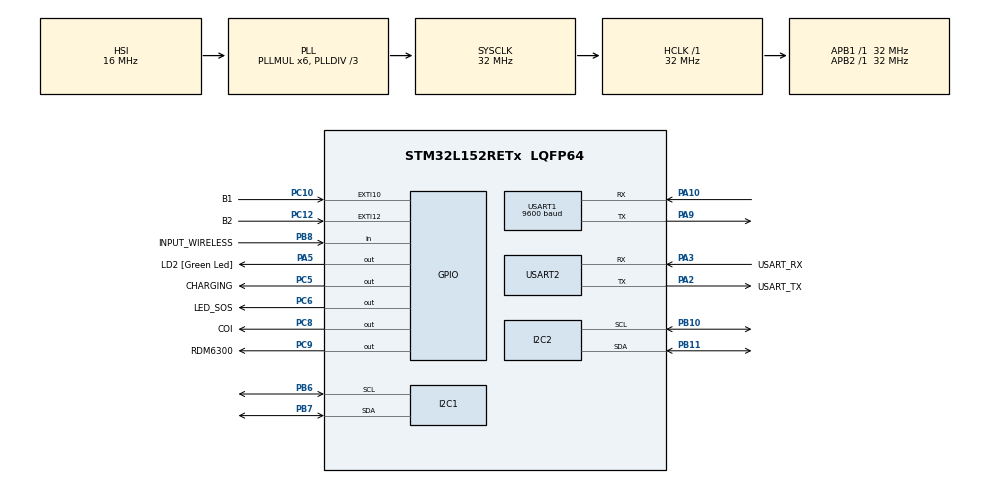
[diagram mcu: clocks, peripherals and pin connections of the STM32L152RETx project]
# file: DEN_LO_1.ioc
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I2C1.I2C_Mode=I2C_Fast
Mcu.Family=STM32L1
Mcu.Name=STM32L152RETx
Mcu.Package=LQFP64
NVIC.EXTI15_10_IRQn=true\:0\:0\:false\:false\:true\:true\:true\:true
NVIC.PriorityGroup=NVIC_PRIORITYGROUP_0
PA10.Mode=Asynchronous
PA10.Signal=USART1_RX
PA13.GPIO_Label=TMS
PA13.Mode=Serial_Wire
PA13.Signal=SYS_JTMS-SWDIO
PA14.GPIO_Label=TCK
PA14.Mode=Serial_Wire
PA14.Signal=SYS_JTCK-SWCLK
PA2.GPIO_Label=USART_TX
PA2.Mode=Asynchronous
PA2.Signal=USART2_TX
PA3.GPIO_Label=USART_RX
PA3.Mode=Asynchronous
PA3.Signal=USART2_RX
PA5.GPIO_Label=LD2 [Green Led]
PA5.Signal=GPIO_Output
PA9.Mode=Asynchronous
PA9.Signal=USART1_TX
PB10.Mode=I2C
PB10.Signal=I2C2_SCL
PB11.Mode=I2C
PB11.Signal=I2C2_SDA
PB3.GPIO_Label=SWO
PB3.Signal=SYS_JTDO-TRACESWO
PB6.Mode=I2C
PB6.Signal=I2C1_SCL
PB7.Mode=I2C
PB7.Signal=I2C1_SDA
PB8.GPIO_Label=INPUT_WIRELESS
PB8.GPIO_PuPd=GPIO_NOPULL
PB8.Signal=GPIO_Input
PC10.GPIO_Label=B1
PC10.Signal=GPXTI10
PC12.GPIO_Label=B2
PC12.Signal=GPXTI12
PC14-OSC32_IN.Mode=LSE-External-Oscillator
PC14-OSC32_IN.Signal=RCC_OSC32_IN
PC15-OSC32_OUT.Mode=LSE-External-Oscillator
PC15-OSC32_OUT.Signal=RCC_OSC32_OUT
PC5.GPIO_Label=CHARGING
PC5.Signal=GPIO_Output
PC6.GPIO_Label=LED_SOS
PC6.Signal=GPIO_Output
PC8.GPIO_Label=COI
PC8.Signal=GPIO_Output
PC9.GPIO_Label=RDM6300
PC9.Signal=GPIO_Output
PH0-OSC_IN.Mode=HSE-External-Clock-Source
PH0-OSC_IN.Signal=RCC_OSC_IN
PH1-OSC_OUT.Signal=RCC_OSC_OUT
ProjectManager.HeapSize=0x200
ProjectManager.StackSize=0x400
ProjectManager.TargetToolchain=STM32CubeIDE
RCC.48MHZClocksFreq_Value=48000000
RCC.AHBFreq_Value=32000000
RCC.APB1Freq_Value=32000000
RCC.APB1TimFreq_Value=32000000
RCC.APB2Freq_Value=32000000
RCC.APB2TimFreq_Value=32000000
RCC.HCLKFreq_Value=32000000
RCC.HSE_VALUE=8000000
RCC.HSI_VALUE=16000000
RCC.MSI_VALUE=2097000
RCC.PLLDIV=RCC_PLL_DIV3
RCC.PLLMUL=RCC_PLL_MUL6
RCC.RTCClockSelectionVirtual=RCC_RTCCLKSOURCE_LSE
RCC.SYSCLKFreq_VALUE=32000000
RCC.SYSCLKSource=RCC_SYSCLKSOURCE_PLLCLK
RCC.USBOutput=48000000
RCC.VCOOutputFreq_Value=96000000
USART1.BaudRate=9600
USART1.VirtualMode=VM_ASYNC
USART2.VirtualMode=VM_ASYNC
board=NUCLEO-L152RE

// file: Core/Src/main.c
/* USER CODE BEGIN Header */
/**
  ******************************************************************************
  * @file           : main.c
  * @brief          : Main program body
  ******************************************************************************
  * @attention
  *
  * Copyright (c) 2024 STMicroelectronics.
  * All rights reserved.
  *
  * This software is licensed under terms that can be found in the LICENSE file
  * in the root directory of this software component.
  * If no LICENSE file comes with this software, it is provided AS-IS.
  *
  ******************************************************************************
  */
/* USER CODE END Header */
#include "main.h"

/* USER CODE BEGIN Includes */
#include "sh1106.h" // Thư viện OLED SH1106
#include "INA219.h"
#include <stdio.h>  // �?ể sử dụng snprintf
#include <string.h> // �?ể sử dụng strlen
#include "bitmaps.h"
#include "processing_handle.h"

/* USER CODE END Includes */

I2C_HandleTypeDef hi2c1;
I2C_HandleTypeDef hi2c2;

UART_HandleTypeDef huart1;
UART_HandleTypeDef huart2;

/* USER CODE BEGIN PV */
INA219_t ina219;

//uint8_t mValid_Uid[14] = {0x02, 0x31, 0x31, 0x30, 0x30, 0x33, 0x41, 0x34, 0x31, 0x33, 0x45, 0x35, 0x34, 0x03};
uint8_t mValid_Uid[14] = {0x03, 0x02, 0x30, 0x43, 0x30, 0x30, 0x31, 0x45, 0x42, 0x30, 0x31, 0x32, 0x42, 0x30};
char 	mUser_Name[] = "PHAM DUC HIEN";
uint8_t mButton_Sos_Pressed = 0; // status button SOS
uint8_t mRfid_Uid_Correct = 0; // Status button On/Off power read RFID
uint8_t mRfidBuffer[14];               // Bộ đệm nhận dữ liệu từ module RFID
uint16_t mVotage_Value = 0;
uint16_t mCurrent_Value = 0;
uint8_t mBattery_percent = 0;
uint8_t mCharging_status = 0; // default 0 is not charging

uint32_t mPress_Tick = 0;
uint8_t mStatus_Rfid_power = 0;
uint8_t mStatus_Rfid_Chage_UID = 0;
uint32_t mPress_time = 0;
/* USER CODE END PV */

void SystemClock_Config(void);
static void MX_GPIO_Init(void);
static void MX_USART2_UART_Init(void);
static void MX_I2C2_Init(void);
static void MX_I2C1_Init(void);
static void MX_USART1_UART_Init(void);
/* USER CODE BEGIN PFP */

static void DISPLAY_PROCESS(void);
static void RFID_PROCESS(void);
static void SOS_PROCESS(void);
static void BATERRY_CHARGER_PROCESS(void);

static int CompareData(const uint8_t *received_data, const uint8_t *valid_data);

/* USER CODE END PFP */

int main(void)
{

  /* MCU Configuration--------------------------------------------------------*/

  /* Reset of all peripherals, Initializes the Flash interface and the Systick. */
  HAL_Init();

  /* Configure the system clock */
  SystemClock_Config();

  /* Initialize all configured peripherals */
  MX_GPIO_Init();
  MX_USART2_UART_Init();
  MX_I2C2_Init();
  MX_I2C1_Init();
  MX_USART1_UART_Init();
  /* USER CODE BEGIN 2 */
  if (!INA219_Init(&ina219, &hi2c2, INA219_ADDRESS)) {
	 while (1);
 }
  SH1106_Init();
  HAL_Delay(100);
  SH1106_Fill(SH1106_COLOR_BLACK);
  SH1106_DrawBitmap(45, 0, (char*)bmp_logo_40x64_ontrak.data,bmp_logo_40x64_ontrak.width, bmp_logo_40x64_ontrak.height, SH1106_COLOR_WHITE);
  SH1106_UpdateScreen();
  HAL_Delay(2000);

  /* USER CODE END 2 */

  /* Infinite loop */
  while (1)
  {

    /* USER CODE BEGIN 3 */
	  BATERRY_CHARGER_PROCESS();
	  DISPLAY_PROCESS();
	  SOS_PROCESS();
	  RFID_PROCESS();
  }
  /* USER CODE END 3 */
}

void SystemClock_Config(void)
{
  RCC_OscInitTypeDef RCC_OscInitStruct = {0};
  RCC_ClkInitTypeDef RCC_ClkInitStruct = {0};

  /** Configure the main internal regulator output voltage
  */
  __HAL_PWR_VOLTAGESCALING_CONFIG(PWR_REGULATOR_VOLTAGE_SCALE1);

  /** Initializes the RCC Oscillators according to the specified parameters
  * in the RCC_OscInitTypeDef structure.
  */
  RCC_OscInitStruct.OscillatorType = RCC_OSCILLATORTYPE_HSI;
  RCC_OscInitStruct.HSIState = RCC_HSI_ON;
  RCC_OscInitStruct.HSICalibrationValue = RCC_HSICALIBRATION_DEFAULT;
  RCC_OscInitStruct.PLL.PLLState = RCC_PLL_ON;
  RCC_OscInitStruct.PLL.PLLSource = RCC_PLLSOURCE_HSI;
  RCC_OscInitStruct.PLL.PLLMUL = RCC_PLL_MUL6;
  RCC_OscInitStruct.PLL.PLLDIV = RCC_PLL_DIV3;
  if (HAL_RCC_OscConfig(&RCC_OscInitStruct) != HAL_OK)
  {
    Error_Handler();
  }

  /** Initializes the CPU, AHB and APB buses clocks
  */
  RCC_ClkInitStruct.ClockType = RCC_CLOCKTYPE_HCLK|RCC_CLOCKTYPE_SYSCLK
                              |RCC_CLOCKTYPE_PCLK1|RCC_CLOCKTYPE_PCLK2;
  RCC_ClkInitStruct.SYSCLKSource = RCC_SYSCLKSOURCE_PLLCLK;
  RCC_ClkInitStruct.AHBCLKDivider = RCC_SYSCLK_DIV1;
  RCC_ClkInitStruct.APB1CLKDivider = RCC_HCLK_DIV1;
  RCC_ClkInitStruct.APB2CLKDivider = RCC_HCLK_DIV1;

  if (HAL_RCC_ClockConfig(&RCC_ClkInitStruct, FLASH_LATENCY_1) != HAL_OK)
  {
    Error_Handler();
  }
}

static void MX_I2C1_Init(void)
{

  hi2c1.Instance = I2C1;
  hi2c1.Init.ClockSpeed = 400000;
  hi2c1.Init.DutyCycle = I2C_DUTYCYCLE_2;
  hi2c1.Init.OwnAddress1 = 0;
  hi2c1.Init.AddressingMode = I2C_ADDRESSINGMODE_7BIT;
  hi2c1.Init.DualAddressMode = I2C_DUALADDRESS_DISABLE;
  hi2c1.Init.OwnAddress2 = 0;
  hi2c1.Init.GeneralCallMode = I2C_GENERALCALL_DISABLE;
  hi2c1.Init.NoStretchMode = I2C_NOSTRETCH_DISABLE;
  if (HAL_I2C_Init(&hi2c1) != HAL_OK)
  {
    Error_Handler();
  }

}

static void MX_I2C2_Init(void)
{

  hi2c2.Instance = I2C2;
  hi2c2.Init.ClockSpeed = 100000;
  hi2c2.Init.DutyCycle = I2C_DUTYCYCLE_2;
  hi2c2.Init.OwnAddress1 = 0;
  hi2c2.Init.AddressingMode = I2C_ADDRESSINGMODE_7BIT;
  hi2c2.Init.DualAddressMode = I2C_DUALADDRESS_DISABLE;
  hi2c2.Init.OwnAddress2 = 0;
  hi2c2.Init.GeneralCallMode = I2C_GENERALCALL_DISABLE;
  hi2c2.Init.NoStretchMode = I2C_NOSTRETCH_DISABLE;
  if (HAL_I2C_Init(&hi2c2) != HAL_OK)
  {
    Error_Handler();
  }

}

static void MX_USART1_UART_Init(void)
{

  huart1.Instance = USART1;
  huart1.Init.BaudRate = 9600;
  huart1.Init.WordLength = UART_WORDLENGTH_8B;
  huart1.Init.StopBits = UART_STOPBITS_1;
  huart1.Init.Parity = UART_PARITY_NONE;
  huart1.Init.Mode = UART_MODE_TX_RX;
  huart1.Init.HwFlowCtl = UART_HWCONTROL_NONE;
  huart1.Init.OverSampling = UART_OVERSAMPLING_16;
  if (HAL_UART_Init(&huart1) != HAL_OK)
  {
    Error_Handler();
  }

}

static void MX_USART2_UART_Init(void)
{

  huart2.Instance = USART2;
  huart2.Init.BaudRate = 115200;
  huart2.Init.WordLength = UART_WORDLENGTH_8B;
  huart2.Init.StopBits = UART_STOPBITS_1;
  huart2.Init.Parity = UART_PARITY_NONE;
  huart2.Init.Mode = UART_MODE_TX_RX;
  huart2.Init.HwFlowCtl = UART_HWCONTROL_NONE;
  huart2.Init.OverSampling = UART_OVERSAMPLING_16;
  if (HAL_UART_Init(&huart2) != HAL_OK)
  {
    Error_Handler();
  }

}

static void MX_GPIO_Init(void)
{
  GPIO_InitTypeDef GPIO_InitStruct = {0};

  /* GPIO Ports Clock Enable */
  __HAL_RCC_GPIOC_CLK_ENABLE();
  __HAL_RCC_GPIOH_CLK_ENABLE();
  __HAL_RCC_GPIOA_CLK_ENABLE();
  __HAL_RCC_GPIOB_CLK_ENABLE();

  /*Configure GPIO pin Output Level */
  HAL_GPIO_WritePin(LD2_GPIO_Port, LD2_Pin, GPIO_PIN_RESET);

  /*Configure GPIO pin Output Level */
  HAL_GPIO_WritePin(GPIOC, CHARGING_Pin|LED_SOS_Pin|COI_Pin|RDM6300_Pin, GPIO_PIN_RESET);

  /*Configure GPIO pin : LD2_Pin */
  GPIO_InitStruct.Pin = LD2_Pin;
  GPIO_InitStruct.Mode = GPIO_MODE_OUTPUT_PP;
  GPIO_InitStruct.Pull = GPIO_NOPULL;
  GPIO_InitStruct.Speed = GPIO_SPEED_FREQ_LOW;
  HAL_GPIO_Init(LD2_GPIO_Port, &GPIO_InitStruct);

  /*Configure GPIO pins : CHARGING_Pin LED_SOS_Pin COI_Pin RDM6300_Pin */
  GPIO_InitStruct.Pin = CHARGING_Pin|LED_SOS_Pin|COI_Pin|RDM6300_Pin;
  GPIO_InitStruct.Mode = GPIO_MODE_OUTPUT_PP;
  GPIO_InitStruct.Pull = GPIO_NOPULL;
  GPIO_InitStruct.Speed = GPIO_SPEED_FREQ_LOW;
  HAL_GPIO_Init(GPIOC, &GPIO_InitStruct);

  /*Configure GPIO pins : B1_Pin B2_Pin */
  GPIO_InitStruct.Pin = B1_Pin|B2_Pin;
  GPIO_InitStruct.Mode = GPIO_MODE_IT_RISING;
  GPIO_InitStruct.Pull = GPIO_NOPULL;
  HAL_GPIO_Init(GPIOC, &GPIO_InitStruct);

  /*Configure GPIO pin : INPUT_WIRELESS_Pin */
  GPIO_InitStruct.Pin = INPUT_WIRELESS_Pin;
  GPIO_InitStruct.Mode = GPIO_MODE_INPUT;
  GPIO_InitStruct.Pull = GPIO_NOPULL;
  HAL_GPIO_Init(INPUT_WIRELESS_GPIO_Port, &GPIO_InitStruct);

  /* EXTI interrupt init*/
  HAL_NVIC_SetPriority(EXTI15_10_IRQn, 0, 0);
  HAL_NVIC_EnableIRQ(EXTI15_10_IRQn);

}

/* USER CODE BEGIN 4 */

/**
 * Display process
 */
static void DISPLAY_PROCESS(void)
{
   static refresh_display_time = 0;
   char vbatBuffer[16];
   char ibatBuffer[16];
   char perceent_batBuffer[16];

   snprintf(vbatBuffer, sizeof(vbatBuffer), "VBat: %0.3f", mVotage_Value/1000.0); // Hiển thị vbat
   snprintf(ibatBuffer, sizeof(ibatBuffer), "IBat: %d mA", mCurrent_Value);            // Hiển thị ibat
   snprintf(perceent_batBuffer, sizeof(perceent_batBuffer), "%d%%", mBattery_percent);

   SH1106_Fill(SH1106_COLOR_BLACK);
   uint8_t x = 96;
   uint8_t y = 0;
   uint8_t bat_width = bmp_bat_0_percent.width;
   uint8_t bat_height = bmp_bat_0_percent.height;
   if((HAL_GetTick() - refresh_display_time) >= 100)
	{

	   refresh_display_time = HAL_GetTick();
//	   SH1106_DrawBitmap(5, 10, (char*)bmp_logo_19x30_ontrak.data,bmp_logo_19x30_ontrak.width, bmp_logo_19x30_ontrak.height, SH1106_COLOR_WHITE); // 0 - 20%
	   if(mBattery_percent < 20)
	   {
		   SH1106_DrawBitmap(x, y, (char*)bmp_bat_0_percent.data,bat_width, bat_height, SH1106_COLOR_WHITE); // 0 - 20%
	   }
	   else if(mBattery_percent < 40)
	   {
		   SH1106_DrawBitmap(x, y, (char*)bmp_bat_30_percent.data,bat_width, bat_height, SH1106_COLOR_WHITE); // 20 - 40%
	   }
	   else if(mBattery_percent < 70)
	   {
		   SH1106_DrawBitmap(x, y, (char*)bmp_bat_50_percent.data,bat_width, bat_height, SH1106_COLOR_WHITE); // 40 - 70%
	   }
	   else if(mBattery_percent < 90)
	   {
		   SH1106_DrawBitmap(x, y, (char*)bmp_bat_80_percent.data,bat_width, bat_height, SH1106_COLOR_WHITE); // 70 - 90%
	   }
	   else
	   {
		   SH1106_DrawBitmap(x, y, (char*)bmp_bat_100_percent.data,bat_width, bat_height, SH1106_COLOR_WHITE);  // 90 - 100%
	   }

//	   Display Charging status
	   if(mCharging_status)
	   {
		   SH1106_DrawBitmap(60, 0, (char*)bmp_bat_charging.data,bmp_bat_charging.width, bmp_bat_charging.height, SH1106_COLOR_WHITE);
//		   SH1106_GotoXY(5, 30); // the third line
//		   SH1106_Puts("Charging", &Font_7x10, SH1106_COLOR_WHITE);
	   }

	   SH1106_GotoXY(70, 4); // the first line
	   SH1106_Puts(perceent_batBuffer, &Font_7x10, SH1106_COLOR_WHITE);

	   SH1106_GotoXY(5, 20);
	   SH1106_Puts("User:", &Font_7x10, SH1106_COLOR_WHITE);
	   SH1106_GotoXY(20, 30);
	   SH1106_Puts(mUser_Name, &Font_7x10, SH1106_COLOR_WHITE);

	   if(mRfid_Uid_Correct)
	   {
		  // user name
		  // id
		   char uid[20];

		   snprintf(uid, sizeof(uid), "ID:%d%d%d%d%d%d%d%d%d%d%d%d%d%d%",
				   mValid_Uid[0], mValid_Uid[1], mValid_Uid[2], mValid_Uid[3],
				   mValid_Uid[4], mValid_Uid[5], mValid_Uid[6], mValid_Uid[7],
				   mValid_Uid[8], mValid_Uid[9], mValid_Uid[10], mValid_Uid[11],
				   mValid_Uid[12], mValid_Uid[13]);
		   SH1106_GotoXY(5, 40);
		   SH1106_Puts(uid, &Font_7x10, SH1106_COLOR_WHITE);
	   }
	   char uid[20];
	   //		   char name[20];

//	   snprintf(uid, sizeof(uid), "ID:%d%d%d%d%d%d%d%d%d%d%d%d%d%d%",
//	   mRfidBuffer[0], mRfidBuffer[1], mRfidBuffer[2], mRfidBuffer[3],
//	   mRfidBuffer[4], mRfidBuffer[5], mRfidBuffer[6], mRfidBuffer[7],
//	   mRfidBuffer[8], mRfidBuffer[9], mRfidBuffer[10], mRfidBuffer[11],
//	   mRfidBuffer[12], mRfidBuffer[13]);
//	   SH1106_GotoXY(5, 40);
//	   SH1106_Puts(uid, &Font_7x10, SH1106_COLOR_WHITE);
	   SH1106_GotoXY(5, 50); // the second line
	   if (mButton_Sos_Pressed)
	   {
		   SH1106_Puts("SOS: ON", &Font_7x10, SH1106_COLOR_WHITE);
	   } else
	   {
//		   SH1106_Puts("SOS: OFF", &Font_7x10, SH1106_COLOR_WHITE);
	   }

	   SH1106_UpdateScreen();
	}
}

/**
 * RFID process
 */
static void RFID_PROCESS(void)
{
	static rfid_time_last = 0;

	RFID_CONTROL(TURN_ON);
	 if(!mStatus_Rfid_Chage_UID && !mCharging_status)
	 {
		 if((HAL_GetTick() - rfid_time_last ) > 500)
		{
			 rfid_time_last = HAL_GetTick();
			 memset(mRfidBuffer, sizeof(mRfidBuffer), 0);
			 if(HAL_UART_Receive(&huart1, mRfidBuffer, 14, 100) == HAL_OK)
			 {
				 if(CompareData(mRfidBuffer, mValid_Uid))
				 {
					 mRfid_Uid_Correct = 1;

				 }
				 else
				 {
					 mRfid_Uid_Correct = 0;
//					 memset(mRfidBuffer, sizeof(mRfidBuffer), 0);
				 }
			 }
			 else
			 {
//				 memset(mRfidBuffer, sizeof(mRfidBuffer), 0);
			 }
		}
	 }
	 else
	 {

	 }
}

/**
 * Checking button sos process
 */
static void SOS_PROCESS(void)
{
//	if(HAL_GPIO_ReadPin(B1_GPIO_Port, B1_Pin) == GPIO_PIN_RESET)
//	{
//		HAL_Delay(100);
//		mButton_Sos_Pressed ^= 1;
//
//	}
	static uint32_t blink_led_times_last = 0;
	static uint8_t led_stt = 0;

	if(mButton_Sos_Pressed)
	{
		BUZZER_CONTROL(TURN_ON);
		// blink led
		if((HAL_GetTick() - blink_led_times_last) >= BLINK_LED_TIMES)
		{
			blink_led_times_last = HAL_GetTick();
			led_stt ^= 1;
			LED_SOS_CONTROL(led_stt? TURN_ON: TURN_OFF);
		}
	}
	else
	{
		BUZZER_CONTROL(TURN_OFF);
		LED_SOS_CONTROL(TURN_OFF);
	}

//	if (!IS_IRQ_ENABLED(EXTI15_10_IRQn))  // nếu EXTI15_10 bị disable
//	{
//	    HAL_NVIC_EnableIRQ(EXTI15_10_IRQn);  // Bật lại ngắt
//	}
}

/**
 * baterry charger process
 */
static void BATERRY_CHARGER_PROCESS(void)
{
   uint16_t vbus_mV = INA219_ReadBusVoltage(&ina219); // �?�?c Vbus (mV)
   uint16_t icurrent_mV = INA219_ReadCurrent(&ina219); // �?�?c dòng điện (mA)

   mVotage_Value = vbus_mV;
   mCurrent_Value = icurrent_mV;
   float tmp = mVotage_Value/BATTERY_FULL;
   mBattery_percent = tmp * 100;

   mBattery_percent = mBattery_percent < 5? 0 : mBattery_percent;
   if(mRfid_Uid_Correct)
   {
	   if((mVotage_Value) >= BATTERY_FULL)
	   {
		   // charging stop
//		   LED_SOS_CONTROL(TURN_OFF); // test check charging
		   CHARGE_CONTROL(TURN_OFF);
		   mCharging_status = 0;
	   }
	   else
	   {
		   // charging start
		   // Check input wireless power
		   if(HAL_GPIO_ReadPin(INPUT_WIRELESS_GPIO_Port, INPUT_WIRELESS_Pin) == GPIO_PIN_SET)
		   {
			   mCharging_status = 1;
//			   LED_SOS_CONTROL(TURN_ON); // test check charging
			   CHARGE_CONTROL(TURN_ON);
		   }
		   else
		   {
			   mCharging_status = 0;
			   CHARGE_CONTROL(TURN_OFF);
		   }
	   }
   }
   else
   {
	   // charging stop
   }
}

/**
 * Compare Data matching or no matching
 */
static int CompareData(const uint8_t *received_data, const uint8_t *valid_data)
{
	uint8_t status = 1; // default matching
    for (int i = 0; i < 14; i++)
    {
        if (received_data[i] != valid_data[i])
        {
        	status = 0; // No matching
        	break;
        }
    }
    return status;
}

/**
 * Callback
 */
void HAL_GPIO_EXTI_Callback(uint16_t GPIO_Pin) {
	UNUSED(GPIO_Pin);
    if (GPIO_Pin == B1_Pin)
    { // Nút nhấn B1
//    	while((HAL_GetTick() - mPress_time) <= 50);
		if(HAL_GPIO_ReadPin(B1_GPIO_Port, B1_Pin) != GPIO_PIN_RESET)
		{
			__HAL_GPIO_EXTI_CLEAR_IT(B1_Pin);
			mButton_Sos_Pressed ^= 1;
//			mPress_time = HAL_GetTick();
		}

    }
    else if (GPIO_Pin == B2_Pin)
    { // Nút nhấn B2
//    	__HAL_GPIO_EXTI_CLEAR_IT(B2_Pin);
//    	mButton_Rfid_Pressed ^= 1;
//    	if(HAL_GPIO_ReadPin(B2_GPIO_Port, B2_Pin))
//    	{
//        	mButton_Rfid_Pressed = 1;
//        	mPress_Tick = HAL_GetTick();
//    	}
//    	if(mButton_Rfid_Pressed)
//    	{
//    		if((HAL_GetTick() - mPress_Tick) >= 5000)
//    		{
//    			mStatus_Rfid_Chage_UID = 1;
//    		}
//    		else
//    		{
//    			mStatus_Rfid_power ^= 1;
//    		}
//    	}

    }
    else
    {
//    	_NOP();
    }
}

/* USER CODE END 4 */

void Error_Handler(void)
{
  __disable_irq();
  while (1)
  {
  }
}
